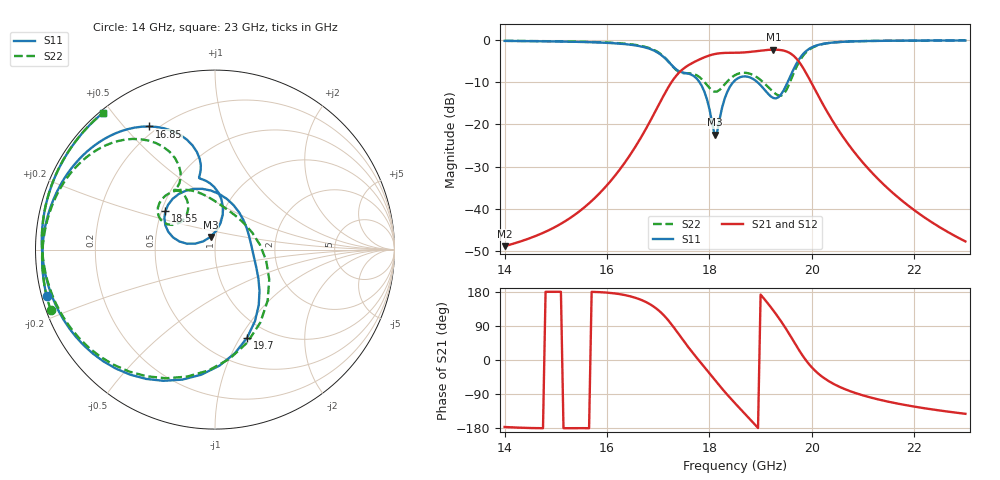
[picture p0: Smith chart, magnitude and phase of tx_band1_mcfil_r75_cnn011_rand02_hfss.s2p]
! Touchstone file exported from HFSS 3D Layout Design 2026.1.0
!  File:  D:/Work/SIM/ADS_AUTO_SIM/projects/RFSOC_RF/TX_Fillter.aedt
!  Generated:  08:15:15 AM Aug 31, 2026
!  Design:  TX_BAND1_MCFIL_R75_CNN011
!  Project:  TX_Fillter
# GHz S MA R 50.000000
! Terminal data exported
! Port[1] = Port1
! Port[2] = Port2
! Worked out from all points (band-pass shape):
!   181 points, 14 GHz to 23 GHz, reference 50 ohm
!   highest |S21| = -2.31 dB at 19.25 GHz (marker M1); lowest = -48.9 dB at 14 GHz (marker M2)
!   |S21| within 3 dB of the highest: 17.69 GHz to 19.76 GHz (2.065 GHz wide, 11 % of centre)
!   lowest |S11| = -22.5 dB at 18.1 GHz (marker M3), VSWR 1.16, Z = 47.1 + j6.73 ohm
!   |S11| at or under -10 dB: 17.81 GHz to 18.47 GHz (661.8 MHz wide, 3.65 % of centre); 18.94 GHz to 19.53 GHz (593 MHz wide, 3.08 % of centre)
!   |S22| runs from -13.2 to -0.1 dB; largest |S21 - S12| = 1.3e-14
!   S11 on the Smith chart (normalised r, x): 14 GHz: 0.01, -0.14; 16.85 GHz: 0.17, +0.59; 18.55 GHz: 0.52, +0.26; 19.7 GHz: 0.79, -1.07; 23 GHz: 0.01, +0.47
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14  0.973 -164.5  0.0036 -176.7  0.0036 -176.7  0.9755 -159.8
15.5  0.9459 165.2  0.009721 -179.8  0.009721 -179.8  0.9516 172.2
16.25  0.9025 144.0  0.02915 173.8  0.02915 173.8  0.9122 152.8
16.85  0.7776 118.1  0.1111 146.3  0.1111 146.3  0.7911 129.2
17  0.7016 109.7  0.1654 131.8  0.1654 131.8  0.7137 121.6
17.25  0.5129 99.6  0.3091 95.8  0.3091 95.8  0.5125 113.2
17.5  0.4085 102.5  0.4599 49.7  0.4599 49.7  0.403 123.0
17.85  0.2858 83.1  0.6034 -10.2  0.6034 -10.2  0.3436 119.4
18.1  0.0753 109.4  0.6789 -51.7  0.6789 -51.7  0.2434 134.2
18.3  0.203 167.2  0.7017 -84.0  0.7017 -84.0  0.2982 151.9
18.5  0.3317 148.2  0.7043 -114.1  0.7043 -114.1  0.3825 146.6
18.55  0.3496 142.3  0.7051 -121.3  0.7051 -121.3  0.3952 143.6
18.95  0.3109 85.7  0.7403 -179.6  0.7403 -179.6  0.3537 111.6
19.25  0.2047 22.3  0.7668 130.4  0.7668 130.4  0.2412 77.9
19.5  0.2899 -33.6  0.7319 81.5  0.7319 81.5  0.252 6.0
19.7  0.5227 -70.0  0.6002 37.2  0.6002 37.2  0.4784 -58.2
19.85  0.7011 -96.3  0.4448 5.9  0.4448 5.9  0.6736 -93.0
20  0.8165 -118.1  0.3042 -19.3  0.3042 -19.3  0.8027 -118.5
20.2  0.8937 -139.6  0.1804 -43.8  0.1804 -43.8  0.8895 -141.9
20.5  0.9404 -161.3  0.08929 -68.2  0.08929 -68.2  0.9411 -164.1
21.5  0.9772 160.5  0.01707 -110.2  0.01707 -110.2  0.9785 158.8
23  0.9849 129.4  0.004098 -142.0  0.004098 -142.0  0.9851 129.4
